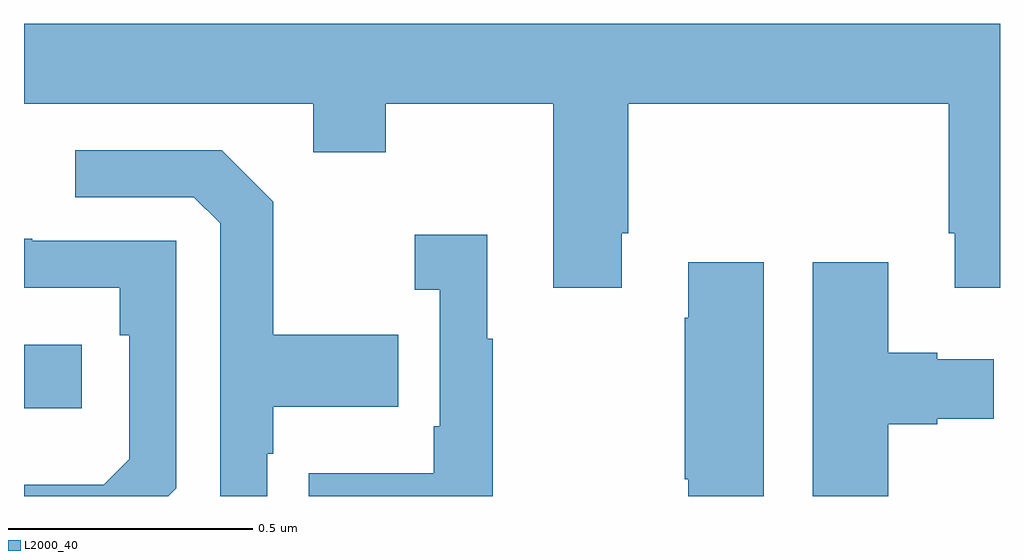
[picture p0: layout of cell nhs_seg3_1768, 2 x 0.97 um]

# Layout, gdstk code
import gdstk
lib = gdstk.Library(unit=1e-6, precision=1e-09)
def R(c, l, rs):  # rectangles x0, y0, x1, y1
    for r in rs: c.add(gdstk.rectangle(r[:2], r[2:], *l))
def P(c, l, *ps):  # polygons
    for p in ps: c.add(gdstk.Polygon(p, *l))
L2000_40 = (2000, 40)

nhs_seg3_1768 = lib.new_cell('nhs_seg3_1768')
R(nhs_seg3_1768, L2000_40, [(132,745.58,132.118,745.71)])
P(nhs_seg3_1768, L2000_40, [(133.225,745.939),(133.238,745.939),(133.238,746.204),(133.895,746.204),(133.895,745.939),(133.907,745.939),(133.907,745.827),(134,745.827),(134,746.368),(132,746.368),(132,746.204),(132.593,746.204),(132.593,746.105),(132.741,746.105),(132.741,746.204),(133.085,746.204),(133.085,745.827),(133.225,745.827)],
  [(132.498,745.487),(132.511,745.487),(132.511,745.583),(132.767,745.583),(132.767,745.731),(132.511,745.731),(132.511,746.003),(132.405,746.109),(132.105,746.109),(132.105,746.013),(132.348,746.013),(132.402,745.959),(132.402,745.4),(132.498,745.4)],
  [(132.961,745.723),(132.949,745.723),(132.949,745.936),(132.801,745.936),(132.801,745.823),(132.852,745.823),(132.852,745.543),(132.84,745.543),(132.84,745.447),(132.583,745.447),(132.583,745.4),(132.961,745.4)],
  [(132.312,745.416),(132.312,745.923),(132.017,745.923),(132.017,745.928),(132,745.928),(132,745.827),(132.196,745.827),(132.196,745.73),(132.216,745.73),(132.216,745.476),(132.163,745.423),(132,745.423),(132,745.4),(132.296,745.4)],
  [(133.516,745.879),(133.361,745.879),(133.361,745.766),(133.354,745.766),(133.354,745.435),(133.361,745.435),(133.361,745.4),(133.516,745.4)],
  [(133.771,745.547),(133.871,745.547),(133.871,745.559),(133.987,745.559),(133.987,745.681),(133.871,745.681),(133.871,745.694),(133.771,745.694),(133.771,745.879),(133.616,745.879),(133.616,745.4),(133.771,745.4)])

lib.write_gds('nhs_seg3_1768.gds')
